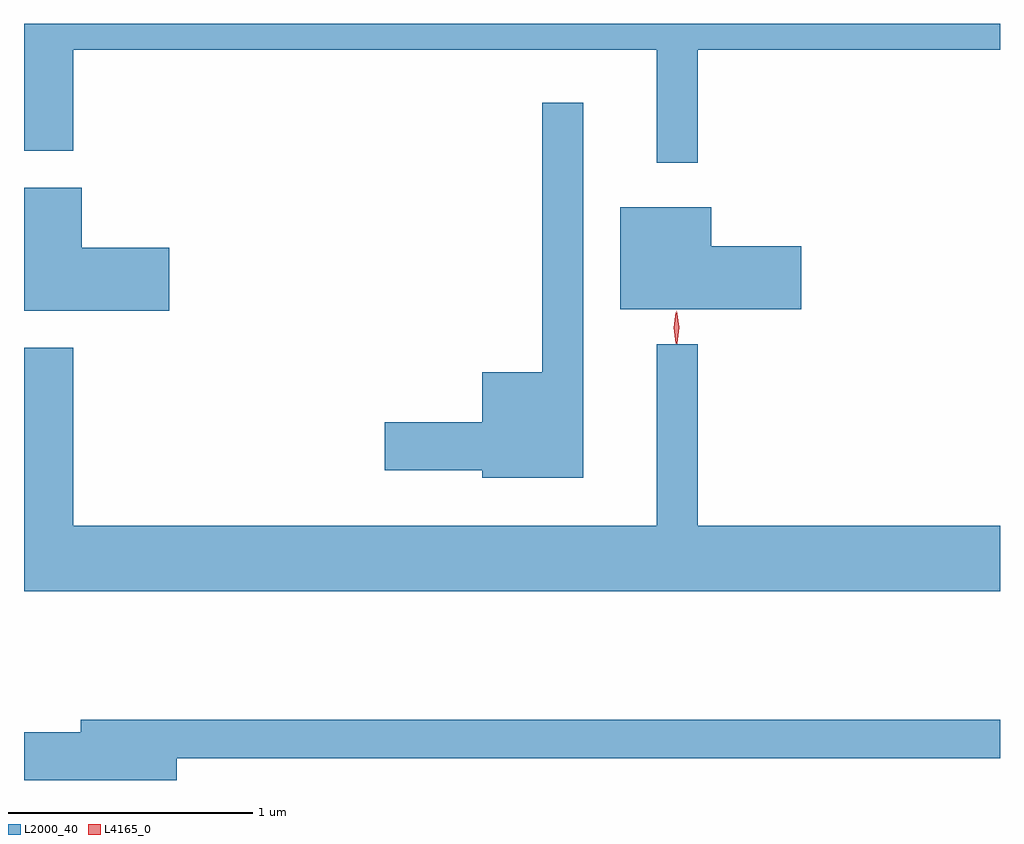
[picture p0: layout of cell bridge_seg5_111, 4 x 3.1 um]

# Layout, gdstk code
import gdstk
lib = gdstk.Library(unit=1e-6, precision=1e-09)
def P(c, l, *ps):  # polygons
    for p in ps: c.add(gdstk.Polygon(p, *l))
L2000_40 = (2000, 40)
L4165_0 = (4165, 0)

bridge_seg5_111 = lib.new_cell('bridge_seg5_111')
P(bridge_seg5_111, L2000_40, [(1123.419,1530.056),(1124.658,1530.056),(1124.658,1530.162),(1120.658,1530.162),(1120.658,1529.641),(1120.859,1529.641),(1120.859,1530.056),(1123.251,1530.056),(1123.251,1529.593),(1123.419,1529.593)],
  [(1122.949,1529.838),(1122.781,1529.838),(1122.781,1528.734),(1122.536,1528.734),(1122.536,1528.529),(1122.136,1528.529),(1122.136,1528.331),(1122.536,1528.331),(1122.536,1528.301),(1122.949,1528.301)],
  [(1121.254,1529.244),(1120.894,1529.244),(1120.894,1529.489),(1120.658,1529.489),(1120.658,1528.986),(1121.254,1528.986)],
  [(1123.844,1529.249),(1123.474,1529.249),(1123.474,1529.409),(1123.101,1529.409),(1123.101,1528.991),(1123.844,1528.991)],
  [(1124.658,1528.104),(1123.419,1528.104),(1123.419,1528.848),(1123.251,1528.848),(1123.251,1528.104),(1120.859,1528.104),(1120.859,1528.834),(1120.658,1528.834),(1120.658,1527.836),(1124.658,1527.836)],
  [(1121.284,1527.151),(1124.658,1527.151),(1124.658,1527.309),(1120.891,1527.309),(1120.891,1527.259),(1120.658,1527.259),(1120.658,1527.061),(1121.284,1527.061)])
P(bridge_seg5_111, L4165_0, [(1123.334,1528.85),(1123.324,1528.918),(1123.333,1528.985),(1123.334,1528.986),(1123.334,1528.985),(1123.344,1528.918),(1123.335,1528.85),(1123.335,1528.85)],
  [(1123.33,1528.853),(1123.32,1528.916),(1123.329,1528.979),(1123.33,1528.98),(1123.33,1528.979),(1123.34,1528.916),(1123.331,1528.853),(1123.331,1528.853)])

lib.write_gds('bridge_seg5_111.gds')
